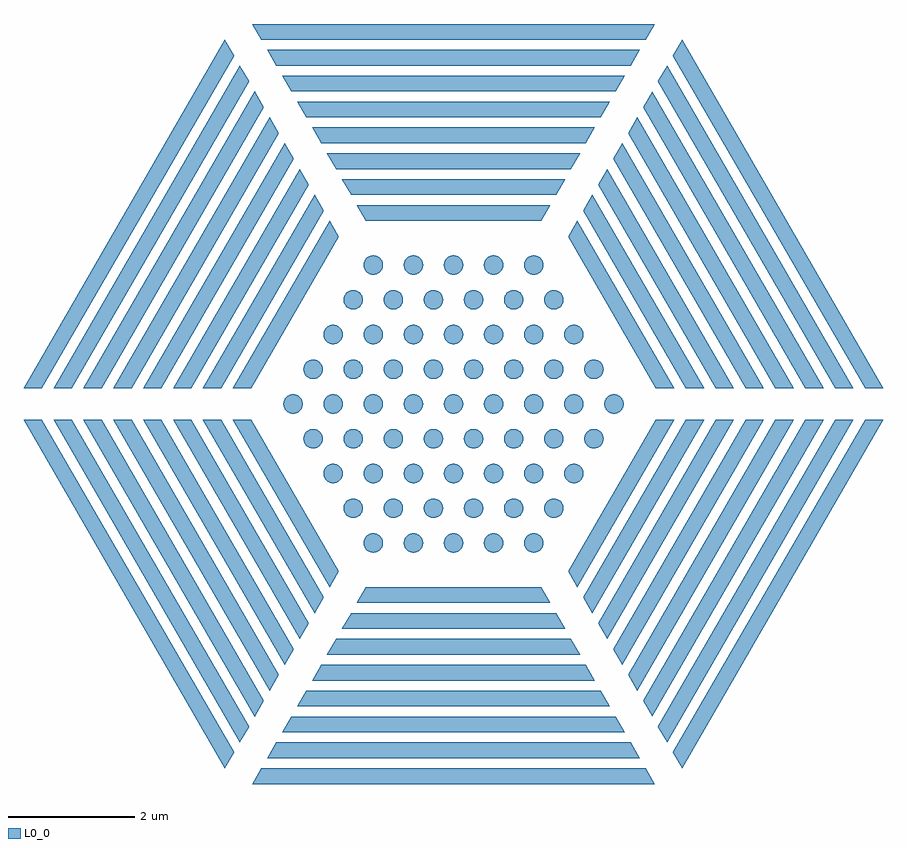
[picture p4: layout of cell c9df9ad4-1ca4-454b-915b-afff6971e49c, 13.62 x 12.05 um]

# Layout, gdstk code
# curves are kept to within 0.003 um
import gdstk
lib = gdstk.Library(unit=1e-6, precision=1e-09)
def P(c, l, *ps):  # polygons
    for p in ps: c.add(gdstk.Polygon(p, *l))
L0_0 = (0, 0)

c9df9ad4_1ca4_454b_915b_ = lib.new_cell('c9df9ad4-1ca4-454b-915b-afff6971e49c')
P(c9df9ad4_1ca4_454b_915b_, L0_0, [(7.441,200),(7.438,200.032),(7.428,200.063),(7.397,200.108),(7.352,200.139),(7.321,200.149),(7.289,200.153),(7.256,200.149),(7.225,200.139),(7.181,200.108),(7.16,200.083),(7.15,200.063),(7.136,200.011),(7.142,199.957),(7.16,199.917),(7.173,199.9),(7.197,199.878),(7.225,199.861),(7.256,199.851),(7.289,199.847),(7.321,199.851),(7.352,199.861),(7.397,199.892),(7.428,199.937),(7.438,199.968)],
  [(6.805,200),(6.802,200.032),(6.792,200.063),(6.761,200.108),(6.716,200.139),(6.685,200.149),(6.653,200.153),(6.62,200.149),(6.589,200.139),(6.545,200.108),(6.524,200.083),(6.514,200.063),(6.5,200.011),(6.506,199.957),(6.524,199.917),(6.537,199.9),(6.561,199.878),(6.589,199.861),(6.62,199.851),(6.653,199.847),(6.685,199.851),(6.716,199.861),(6.761,199.892),(6.792,199.937),(6.802,199.968)],
  [(7.123,200.551),(7.12,200.583),(7.11,200.614),(7.079,200.659),(7.034,200.69),(6.982,200.703),(6.949,200.702),(6.917,200.694),(6.879,200.673),(6.855,200.651),(6.837,200.624),(6.824,200.594),(6.818,200.562),(6.824,200.508),(6.842,200.468),(6.855,200.451),(6.888,200.422),(6.907,200.412),(6.928,200.404),(6.971,200.398),(7.014,200.404),(7.034,200.412),(7.079,200.443),(7.11,200.487),(7.12,200.518)],
  [(7.759,200.551),(7.756,200.583),(7.746,200.614),(7.715,200.659),(7.67,200.69),(7.618,200.703),(7.585,200.702),(7.553,200.694),(7.515,200.673),(7.491,200.651),(7.473,200.624),(7.46,200.594),(7.454,200.562),(7.46,200.508),(7.478,200.468),(7.491,200.451),(7.524,200.422),(7.543,200.412),(7.564,200.404),(7.607,200.398),(7.65,200.404),(7.67,200.412),(7.715,200.443),(7.746,200.487),(7.756,200.518)],
  [(8.077,200),(8.074,200.032),(8.064,200.063),(8.033,200.108),(7.988,200.139),(7.957,200.149),(7.925,200.153),(7.892,200.149),(7.861,200.139),(7.817,200.108),(7.796,200.083),(7.786,200.063),(7.772,200.011),(7.778,199.957),(7.796,199.917),(7.809,199.9),(7.833,199.878),(7.861,199.861),(7.892,199.851),(7.925,199.847),(7.957,199.851),(7.988,199.861),(8.033,199.892),(8.064,199.937),(8.074,199.968)],
  [(7.759,199.449),(7.756,199.482),(7.746,199.513),(7.715,199.557),(7.67,199.588),(7.65,199.596),(7.607,199.602),(7.553,199.592),(7.507,199.565),(7.478,199.532),(7.468,199.513),(7.454,199.46),(7.46,199.406),(7.491,199.349),(7.515,199.327),(7.543,199.31),(7.596,199.297),(7.628,199.298),(7.66,199.306),(7.68,199.315),(7.715,199.341),(7.746,199.386),(7.756,199.417)],
  [(7.123,199.449),(7.12,199.482),(7.11,199.513),(7.079,199.557),(7.034,199.588),(7.014,199.596),(6.971,199.602),(6.917,199.592),(6.871,199.565),(6.842,199.532),(6.832,199.513),(6.818,199.46),(6.824,199.406),(6.855,199.349),(6.879,199.327),(6.907,199.31),(6.96,199.297),(6.992,199.298),(7.024,199.306),(7.044,199.315),(7.079,199.341),(7.11,199.386),(7.12,199.417)],
  [(6.169,200),(6.166,200.032),(6.156,200.063),(6.125,200.108),(6.08,200.139),(6.049,200.149),(6.017,200.153),(5.984,200.149),(5.953,200.139),(5.909,200.108),(5.888,200.083),(5.878,200.063),(5.864,200.011),(5.87,199.957),(5.888,199.917),(5.901,199.9),(5.925,199.878),(5.953,199.861),(5.984,199.851),(6.017,199.847),(6.049,199.851),(6.08,199.861),(6.125,199.892),(6.156,199.937),(6.166,199.968)],
  [(6.805,201.102),(6.802,201.134),(6.792,201.165),(6.761,201.21),(6.726,201.236),(6.706,201.245),(6.674,201.253),(6.642,201.254),(6.599,201.245),(6.58,201.236),(6.537,201.202),(6.506,201.145),(6.5,201.091),(6.506,201.059),(6.519,201.028),(6.537,201.002),(6.561,200.979),(6.62,200.952),(6.664,200.949),(6.716,200.963),(6.761,200.994),(6.792,201.038),(6.802,201.069)],
  [(8.077,201.102),(8.074,201.134),(8.064,201.165),(8.033,201.21),(7.998,201.236),(7.978,201.245),(7.946,201.253),(7.914,201.254),(7.871,201.245),(7.852,201.236),(7.809,201.202),(7.778,201.145),(7.772,201.091),(7.778,201.059),(7.791,201.028),(7.809,201.002),(7.833,200.979),(7.892,200.952),(7.936,200.949),(7.988,200.963),(8.033,200.994),(8.064,201.038),(8.074,201.069)],
  [(8.713,200),(8.71,200.032),(8.7,200.063),(8.669,200.108),(8.624,200.139),(8.593,200.149),(8.561,200.153),(8.528,200.149),(8.497,200.139),(8.453,200.108),(8.432,200.083),(8.422,200.063),(8.408,200.011),(8.414,199.957),(8.432,199.917),(8.445,199.9),(8.469,199.878),(8.497,199.861),(8.528,199.851),(8.561,199.847),(8.593,199.851),(8.624,199.861),(8.669,199.892),(8.7,199.937),(8.71,199.968)],
  [(8.077,198.898),(8.074,198.931),(8.064,198.962),(8.033,199.006),(7.988,199.037),(7.936,199.051),(7.892,199.048),(7.833,199.021),(7.809,198.998),(7.791,198.972),(7.778,198.941),(7.772,198.909),(7.778,198.855),(7.809,198.798),(7.852,198.764),(7.871,198.755),(7.914,198.746),(7.946,198.747),(7.978,198.755),(7.998,198.764),(8.033,198.79),(8.064,198.835),(8.074,198.866)],
  [(6.805,198.898),(6.802,198.931),(6.792,198.962),(6.761,199.006),(6.716,199.037),(6.664,199.051),(6.62,199.048),(6.561,199.021),(6.537,198.998),(6.519,198.972),(6.506,198.941),(6.5,198.909),(6.506,198.855),(6.537,198.798),(6.58,198.764),(6.599,198.755),(6.642,198.746),(6.674,198.747),(6.706,198.755),(6.726,198.764),(6.761,198.79),(6.792,198.835),(6.802,198.866)],
  [(6.487,200.551),(6.484,200.583),(6.474,200.614),(6.443,200.659),(6.398,200.69),(6.346,200.703),(6.313,200.702),(6.281,200.694),(6.243,200.673),(6.219,200.651),(6.201,200.624),(6.188,200.594),(6.182,200.562),(6.188,200.508),(6.206,200.468),(6.219,200.451),(6.252,200.422),(6.271,200.412),(6.292,200.404),(6.335,200.398),(6.378,200.404),(6.398,200.412),(6.443,200.443),(6.474,200.487),(6.484,200.518)],
  [(7.441,201.102),(7.438,201.134),(7.428,201.165),(7.397,201.21),(7.362,201.236),(7.342,201.245),(7.31,201.253),(7.278,201.254),(7.235,201.245),(7.216,201.236),(7.173,201.202),(7.142,201.145),(7.136,201.091),(7.142,201.059),(7.155,201.028),(7.173,201.002),(7.197,200.979),(7.256,200.952),(7.3,200.949),(7.352,200.963),(7.397,200.994),(7.428,201.038),(7.438,201.069)],
  [(8.395,200.551),(8.392,200.583),(8.382,200.614),(8.351,200.659),(8.306,200.69),(8.254,200.703),(8.221,200.702),(8.189,200.694),(8.151,200.673),(8.127,200.651),(8.109,200.624),(8.096,200.594),(8.09,200.562),(8.096,200.508),(8.114,200.468),(8.127,200.451),(8.16,200.422),(8.179,200.412),(8.2,200.404),(8.243,200.398),(8.286,200.404),(8.306,200.412),(8.351,200.443),(8.382,200.487),(8.392,200.518)],
  [(8.395,199.449),(8.392,199.482),(8.382,199.513),(8.351,199.557),(8.306,199.588),(8.286,199.596),(8.243,199.602),(8.189,199.592),(8.143,199.565),(8.114,199.532),(8.104,199.513),(8.09,199.46),(8.096,199.406),(8.127,199.349),(8.151,199.327),(8.179,199.31),(8.232,199.297),(8.264,199.298),(8.296,199.306),(8.316,199.315),(8.351,199.341),(8.382,199.386),(8.392,199.417)],
  [(7.441,198.898),(7.438,198.931),(7.428,198.962),(7.397,199.006),(7.352,199.037),(7.3,199.051),(7.256,199.048),(7.197,199.021),(7.173,198.998),(7.155,198.972),(7.142,198.941),(7.136,198.909),(7.142,198.855),(7.173,198.798),(7.216,198.764),(7.235,198.755),(7.278,198.746),(7.31,198.747),(7.342,198.755),(7.362,198.764),(7.397,198.79),(7.428,198.835),(7.438,198.866)],
  [(6.487,199.449),(6.484,199.482),(6.474,199.513),(6.443,199.557),(6.398,199.588),(6.378,199.596),(6.335,199.602),(6.281,199.592),(6.235,199.565),(6.206,199.532),(6.196,199.513),(6.182,199.46),(6.188,199.406),(6.219,199.349),(6.243,199.327),(6.271,199.31),(6.324,199.297),(6.356,199.298),(6.388,199.306),(6.408,199.315),(6.443,199.341),(6.474,199.386),(6.484,199.417)],
  [(5.533,200),(5.53,200.032),(5.52,200.063),(5.489,200.108),(5.444,200.139),(5.413,200.149),(5.381,200.153),(5.348,200.149),(5.317,200.139),(5.273,200.108),(5.252,200.083),(5.242,200.063),(5.228,200.011),(5.234,199.957),(5.252,199.917),(5.265,199.9),(5.289,199.878),(5.317,199.861),(5.348,199.851),(5.381,199.847),(5.413,199.851),(5.444,199.861),(5.489,199.892),(5.52,199.937),(5.53,199.968)],
  [(6.487,201.652),(6.484,201.685),(6.474,201.716),(6.443,201.76),(6.398,201.791),(6.346,201.805),(6.302,201.802),(6.243,201.775),(6.219,201.752),(6.201,201.726),(6.188,201.695),(6.182,201.663),(6.188,201.609),(6.219,201.552),(6.262,201.518),(6.281,201.509),(6.324,201.5),(6.356,201.501),(6.388,201.509),(6.408,201.518),(6.443,201.544),(6.474,201.589),(6.484,201.62)],
  [(8.395,201.652),(8.392,201.685),(8.382,201.716),(8.351,201.76),(8.306,201.791),(8.254,201.805),(8.21,201.802),(8.151,201.775),(8.127,201.752),(8.109,201.726),(8.096,201.695),(8.09,201.663),(8.096,201.609),(8.127,201.552),(8.17,201.518),(8.189,201.509),(8.232,201.5),(8.264,201.501),(8.296,201.509),(8.316,201.518),(8.351,201.544),(8.382,201.589),(8.392,201.62)],
  [(9.349,200),(9.346,200.032),(9.336,200.063),(9.305,200.108),(9.26,200.139),(9.229,200.149),(9.197,200.153),(9.164,200.149),(9.133,200.139),(9.089,200.108),(9.068,200.083),(9.058,200.063),(9.044,200.011),(9.05,199.957),(9.068,199.917),(9.081,199.9),(9.105,199.878),(9.133,199.861),(9.164,199.851),(9.197,199.847),(9.229,199.851),(9.26,199.861),(9.305,199.892),(9.336,199.937),(9.346,199.968)],
  [(8.395,198.348),(8.392,198.38),(8.382,198.411),(8.351,198.456),(8.316,198.482),(8.286,198.494),(8.254,198.5),(8.221,198.499),(8.189,198.491),(8.151,198.47),(8.127,198.448),(8.109,198.421),(8.096,198.391),(8.09,198.359),(8.096,198.305),(8.109,198.274),(8.127,198.248),(8.151,198.225),(8.179,198.209),(8.232,198.195),(8.286,198.201),(8.343,198.232),(8.365,198.256),(8.382,198.284),(8.392,198.315)],
  [(6.487,198.348),(6.484,198.38),(6.474,198.411),(6.443,198.456),(6.408,198.482),(6.378,198.494),(6.346,198.5),(6.313,198.499),(6.281,198.491),(6.243,198.47),(6.219,198.448),(6.201,198.421),(6.188,198.391),(6.182,198.359),(6.188,198.305),(6.201,198.274),(6.219,198.248),(6.243,198.225),(6.271,198.209),(6.324,198.195),(6.378,198.201),(6.435,198.232),(6.457,198.256),(6.474,198.284),(6.484,198.315)],
  [(5.851,200.551),(5.848,200.583),(5.838,200.614),(5.807,200.659),(5.762,200.69),(5.71,200.703),(5.677,200.702),(5.645,200.694),(5.607,200.673),(5.583,200.651),(5.565,200.624),(5.552,200.594),(5.546,200.562),(5.552,200.508),(5.57,200.468),(5.583,200.451),(5.616,200.422),(5.635,200.412),(5.656,200.404),(5.699,200.398),(5.742,200.404),(5.762,200.412),(5.807,200.443),(5.838,200.487),(5.848,200.518)],
  [(7.123,201.652),(7.12,201.685),(7.11,201.716),(7.079,201.76),(7.034,201.791),(6.982,201.805),(6.938,201.802),(6.879,201.775),(6.855,201.752),(6.837,201.726),(6.824,201.695),(6.818,201.663),(6.824,201.609),(6.855,201.552),(6.898,201.518),(6.917,201.509),(6.96,201.5),(6.992,201.501),(7.024,201.509),(7.044,201.518),(7.079,201.544),(7.11,201.589),(7.12,201.62)],
  [(8.713,201.102),(8.71,201.134),(8.7,201.165),(8.669,201.21),(8.634,201.236),(8.614,201.245),(8.582,201.253),(8.55,201.254),(8.507,201.245),(8.488,201.236),(8.445,201.202),(8.414,201.145),(8.408,201.091),(8.414,201.059),(8.427,201.028),(8.445,201.002),(8.469,200.979),(8.528,200.952),(8.572,200.949),(8.624,200.963),(8.669,200.994),(8.7,201.038),(8.71,201.069)],
  [(9.031,199.449),(9.028,199.482),(9.018,199.513),(8.987,199.557),(8.942,199.588),(8.922,199.596),(8.879,199.602),(8.825,199.592),(8.779,199.565),(8.75,199.532),(8.74,199.513),(8.726,199.46),(8.732,199.406),(8.763,199.349),(8.787,199.327),(8.815,199.31),(8.868,199.297),(8.9,199.298),(8.932,199.306),(8.952,199.315),(8.987,199.341),(9.018,199.386),(9.028,199.417)],
  [(7.759,198.348),(7.756,198.38),(7.746,198.411),(7.715,198.456),(7.68,198.482),(7.65,198.494),(7.618,198.5),(7.585,198.499),(7.553,198.491),(7.515,198.47),(7.491,198.448),(7.473,198.421),(7.46,198.391),(7.454,198.359),(7.46,198.305),(7.473,198.274),(7.491,198.248),(7.515,198.225),(7.543,198.209),(7.596,198.195),(7.65,198.201),(7.707,198.232),(7.729,198.256),(7.746,198.284),(7.756,198.315)],
  [(6.169,198.898),(6.166,198.931),(6.156,198.962),(6.125,199.006),(6.08,199.037),(6.028,199.051),(5.984,199.048),(5.925,199.021),(5.901,198.998),(5.883,198.972),(5.87,198.941),(5.864,198.909),(5.87,198.855),(5.901,198.798),(5.944,198.764),(5.963,198.755),(6.006,198.746),(6.038,198.747),(6.07,198.755),(6.09,198.764),(6.125,198.79),(6.156,198.835),(6.166,198.866)],
  [(6.169,201.102),(6.166,201.134),(6.156,201.165),(6.125,201.21),(6.09,201.236),(6.07,201.245),(6.038,201.253),(6.006,201.254),(5.963,201.245),(5.944,201.236),(5.901,201.202),(5.87,201.145),(5.864,201.091),(5.87,201.059),(5.883,201.028),(5.901,201.002),(5.925,200.979),(5.984,200.952),(6.028,200.949),(6.08,200.963),(6.125,200.994),(6.156,201.038),(6.166,201.069)],
  [(7.759,201.652),(7.756,201.685),(7.746,201.716),(7.715,201.76),(7.67,201.791),(7.618,201.805),(7.574,201.802),(7.515,201.775),(7.491,201.752),(7.473,201.726),(7.46,201.695),(7.454,201.663),(7.46,201.609),(7.491,201.552),(7.534,201.518),(7.553,201.509),(7.596,201.5),(7.628,201.501),(7.66,201.509),(7.68,201.518),(7.715,201.544),(7.746,201.589),(7.756,201.62)],
  [(9.031,200.551),(9.028,200.583),(9.018,200.614),(8.987,200.659),(8.942,200.69),(8.89,200.703),(8.857,200.702),(8.825,200.694),(8.787,200.673),(8.763,200.651),(8.745,200.624),(8.732,200.594),(8.726,200.562),(8.732,200.508),(8.75,200.468),(8.763,200.451),(8.796,200.422),(8.815,200.412),(8.836,200.404),(8.879,200.398),(8.922,200.404),(8.942,200.412),(8.987,200.443),(9.018,200.487),(9.028,200.518)],
  [(8.713,198.898),(8.71,198.931),(8.7,198.962),(8.669,199.006),(8.624,199.037),(8.572,199.051),(8.528,199.048),(8.469,199.021),(8.445,198.998),(8.427,198.972),(8.414,198.941),(8.408,198.909),(8.414,198.855),(8.445,198.798),(8.488,198.764),(8.507,198.755),(8.55,198.746),(8.582,198.747),(8.614,198.755),(8.634,198.764),(8.669,198.79),(8.7,198.835),(8.71,198.866)],
  [(7.123,198.348),(7.12,198.38),(7.11,198.411),(7.079,198.456),(7.044,198.482),(7.014,198.494),(6.982,198.5),(6.949,198.499),(6.917,198.491),(6.879,198.47),(6.855,198.448),(6.837,198.421),(6.824,198.391),(6.818,198.359),(6.824,198.305),(6.837,198.274),(6.855,198.248),(6.879,198.225),(6.907,198.209),(6.96,198.195),(7.014,198.201),(7.071,198.232),(7.093,198.256),(7.11,198.284),(7.12,198.315)],
  [(5.851,199.449),(5.848,199.482),(5.838,199.513),(5.807,199.557),(5.762,199.588),(5.742,199.596),(5.699,199.602),(5.645,199.592),(5.599,199.565),(5.57,199.532),(5.56,199.513),(5.546,199.46),(5.552,199.406),(5.583,199.349),(5.607,199.327),(5.635,199.31),(5.688,199.297),(5.72,199.298),(5.752,199.306),(5.772,199.315),(5.807,199.341),(5.838,199.386),(5.848,199.417)],
  [(4.897,200),(4.894,200.032),(4.884,200.063),(4.853,200.108),(4.808,200.139),(4.777,200.149),(4.745,200.153),(4.712,200.149),(4.681,200.139),(4.637,200.108),(4.616,200.083),(4.606,200.063),(4.592,200.011),(4.598,199.957),(4.616,199.917),(4.629,199.9),(4.653,199.878),(4.681,199.861),(4.712,199.851),(4.745,199.847),(4.777,199.851),(4.808,199.861),(4.853,199.892),(4.884,199.937),(4.894,199.968)],
  [(6.169,202.203),(6.166,202.236),(6.156,202.267),(6.125,202.311),(6.08,202.342),(6.06,202.35),(6.017,202.356),(5.963,202.346),(5.917,202.319),(5.888,202.286),(5.878,202.267),(5.864,202.214),(5.87,202.16),(5.901,202.103),(5.925,202.081),(5.953,202.064),(6.006,202.051),(6.038,202.052),(6.07,202.06),(6.09,202.069),(6.125,202.095),(6.156,202.14),(6.166,202.171)],
  [(8.713,202.203),(8.71,202.236),(8.7,202.267),(8.669,202.311),(8.624,202.342),(8.604,202.35),(8.561,202.356),(8.507,202.346),(8.461,202.319),(8.432,202.286),(8.422,202.267),(8.408,202.214),(8.414,202.16),(8.445,202.103),(8.469,202.081),(8.497,202.064),(8.55,202.051),(8.582,202.052),(8.614,202.06),(8.634,202.069),(8.669,202.095),(8.7,202.14),(8.71,202.171)],
  [(9.985,200),(9.982,200.032),(9.972,200.063),(9.941,200.108),(9.896,200.139),(9.865,200.149),(9.833,200.153),(9.8,200.149),(9.769,200.139),(9.725,200.108),(9.704,200.083),(9.694,200.063),(9.68,200.011),(9.686,199.957),(9.704,199.917),(9.717,199.9),(9.741,199.878),(9.769,199.861),(9.8,199.851),(9.833,199.847),(9.865,199.851),(9.896,199.861),(9.941,199.892),(9.972,199.937),(9.982,199.968)],
  [(8.713,197.797),(8.71,197.829),(8.7,197.86),(8.669,197.905),(8.624,197.936),(8.572,197.949),(8.539,197.948),(8.507,197.94),(8.469,197.919),(8.445,197.897),(8.427,197.87),(8.414,197.84),(8.408,197.808),(8.414,197.754),(8.432,197.714),(8.445,197.697),(8.478,197.668),(8.497,197.658),(8.518,197.65),(8.561,197.644),(8.604,197.65),(8.624,197.658),(8.669,197.689),(8.7,197.733),(8.71,197.764)],
  [(6.169,197.797),(6.166,197.829),(6.156,197.86),(6.125,197.905),(6.08,197.936),(6.028,197.949),(5.995,197.948),(5.963,197.94),(5.925,197.919),(5.901,197.897),(5.883,197.87),(5.87,197.84),(5.864,197.808),(5.87,197.754),(5.888,197.714),(5.901,197.697),(5.934,197.668),(5.953,197.658),(5.974,197.65),(6.017,197.644),(6.06,197.65),(6.08,197.658),(6.125,197.689),(6.156,197.733),(6.166,197.764)],
  [(5.215,200.551),(5.212,200.583),(5.202,200.614),(5.171,200.659),(5.126,200.69),(5.074,200.703),(5.041,200.702),(5.009,200.694),(4.971,200.673),(4.947,200.651),(4.929,200.624),(4.916,200.594),(4.91,200.562),(4.916,200.508),(4.934,200.468),(4.947,200.451),(4.98,200.422),(4.999,200.412),(5.02,200.404),(5.063,200.398),(5.106,200.404),(5.126,200.412),(5.171,200.443),(5.202,200.487),(5.212,200.518)],
  [(6.805,202.203),(6.802,202.236),(6.792,202.267),(6.761,202.311),(6.716,202.342),(6.696,202.35),(6.653,202.356),(6.599,202.346),(6.553,202.319),(6.524,202.286),(6.514,202.267),(6.5,202.214),(6.506,202.16),(6.537,202.103),(6.561,202.081),(6.589,202.064),(6.642,202.051),(6.674,202.052),(6.706,202.06),(6.726,202.069),(6.761,202.095),(6.792,202.14),(6.802,202.171)],
  [(9.031,201.652),(9.028,201.685),(9.018,201.716),(8.987,201.76),(8.942,201.791),(8.89,201.805),(8.846,201.802),(8.787,201.775),(8.763,201.752),(8.745,201.726),(8.732,201.695),(8.726,201.663),(8.732,201.609),(8.763,201.552),(8.806,201.518),(8.825,201.509),(8.868,201.5),(8.9,201.501),(8.932,201.509),(8.952,201.518),(8.987,201.544),(9.018,201.589),(9.028,201.62)],
  [(9.667,199.449),(9.664,199.482),(9.654,199.513),(9.623,199.557),(9.578,199.588),(9.558,199.596),(9.515,199.602),(9.461,199.592),(9.415,199.565),(9.386,199.532),(9.376,199.513),(9.362,199.46),(9.368,199.406),(9.399,199.349),(9.423,199.327),(9.451,199.31),(9.504,199.297),(9.536,199.298),(9.568,199.306),(9.588,199.315),(9.623,199.341),(9.654,199.386),(9.664,199.417)],
  [(8.077,197.797),(8.074,197.829),(8.064,197.86),(8.033,197.905),(7.988,197.936),(7.936,197.949),(7.903,197.948),(7.871,197.94),(7.833,197.919),(7.809,197.897),(7.791,197.87),(7.778,197.84),(7.772,197.808),(7.778,197.754),(7.796,197.714),(7.809,197.697),(7.842,197.668),(7.861,197.658),(7.882,197.65),(7.925,197.644),(7.968,197.65),(7.988,197.658),(8.033,197.689),(8.064,197.733),(8.074,197.764)],
  [(5.851,198.348),(5.848,198.38),(5.838,198.411),(5.807,198.456),(5.772,198.482),(5.742,198.494),(5.71,198.5),(5.677,198.499),(5.645,198.491),(5.607,198.47),(5.583,198.448),(5.565,198.421),(5.552,198.391),(5.546,198.359),(5.552,198.305),(5.565,198.274),(5.583,198.248),(5.607,198.225),(5.635,198.209),(5.688,198.195),(5.742,198.201),(5.799,198.232),(5.821,198.256),(5.838,198.284),(5.848,198.315)],
  [(5.533,201.102),(5.53,201.134),(5.52,201.165),(5.489,201.21),(5.454,201.236),(5.434,201.245),(5.402,201.253),(5.37,201.254),(5.327,201.245),(5.308,201.236),(5.265,201.202),(5.234,201.145),(5.228,201.091),(5.234,201.059),(5.247,201.028),(5.265,201.002),(5.289,200.979),(5.348,200.952),(5.392,200.949),(5.444,200.963),(5.489,200.994),(5.52,201.038),(5.53,201.069)],
  [(7.441,202.203),(7.438,202.236),(7.428,202.267),(7.397,202.311),(7.352,202.342),(7.332,202.35),(7.289,202.356),(7.235,202.346),(7.189,202.319),(7.16,202.286),(7.15,202.267),(7.136,202.214),(7.142,202.16),(7.173,202.103),(7.197,202.081),(7.225,202.064),(7.278,202.051),(7.31,202.052),(7.342,202.06),(7.362,202.069),(7.397,202.095),(7.428,202.14),(7.438,202.171)],
  [(9.349,201.102),(9.346,201.134),(9.336,201.165),(9.305,201.21),(9.27,201.236),(9.25,201.245),(9.218,201.253),(9.186,201.254),(9.143,201.245),(9.124,201.236),(9.081,201.202),(9.05,201.145),(9.044,201.091),(9.05,201.059),(9.063,201.028),(9.081,201.002),(9.105,200.979),(9.164,200.952),(9.208,200.949),(9.26,200.963),(9.305,200.994),(9.336,201.038),(9.346,201.069)],
  [(9.349,198.898),(9.346,198.931),(9.336,198.962),(9.305,199.006),(9.26,199.037),(9.208,199.051),(9.164,199.048),(9.105,199.021),(9.081,198.998),(9.063,198.972),(9.05,198.941),(9.044,198.909),(9.05,198.855),(9.081,198.798),(9.124,198.764),(9.143,198.755),(9.186,198.746),(9.218,198.747),(9.25,198.755),(9.27,198.764),(9.305,198.79),(9.336,198.835),(9.346,198.866)],
  [(7.441,197.797),(7.438,197.829),(7.428,197.86),(7.397,197.905),(7.352,197.936),(7.3,197.949),(7.267,197.948),(7.235,197.94),(7.197,197.919),(7.173,197.897),(7.155,197.87),(7.142,197.84),(7.136,197.808),(7.142,197.754),(7.16,197.714),(7.173,197.697),(7.206,197.668),(7.225,197.658),(7.246,197.65),(7.289,197.644),(7.332,197.65),(7.352,197.658),(7.397,197.689),(7.428,197.733),(7.438,197.764)],
  [(5.533,198.898),(5.53,198.931),(5.52,198.962),(5.489,199.006),(5.444,199.037),(5.392,199.051),(5.348,199.048),(5.289,199.021),(5.265,198.998),(5.247,198.972),(5.234,198.941),(5.228,198.909),(5.234,198.855),(5.265,198.798),(5.308,198.764),(5.327,198.755),(5.37,198.746),(5.402,198.747),(5.434,198.755),(5.454,198.764),(5.489,198.79),(5.52,198.835),(5.53,198.866)],
  [(5.851,201.652),(5.848,201.685),(5.838,201.716),(5.807,201.76),(5.762,201.791),(5.71,201.805),(5.666,201.802),(5.607,201.775),(5.583,201.752),(5.565,201.726),(5.552,201.695),(5.546,201.663),(5.552,201.609),(5.583,201.552),(5.626,201.518),(5.645,201.509),(5.688,201.5),(5.72,201.501),(5.752,201.509),(5.772,201.518),(5.807,201.544),(5.838,201.589),(5.848,201.62)],
  [(8.077,202.203),(8.074,202.236),(8.064,202.267),(8.033,202.311),(7.988,202.342),(7.968,202.35),(7.925,202.356),(7.871,202.346),(7.825,202.319),(7.796,202.286),(7.786,202.267),(7.772,202.214),(7.778,202.16),(7.809,202.103),(7.833,202.081),(7.861,202.064),(7.914,202.051),(7.946,202.052),(7.978,202.06),(7.998,202.069),(8.033,202.095),(8.064,202.14),(8.074,202.171)],
  [(9.667,200.551),(9.664,200.583),(9.654,200.614),(9.623,200.659),(9.578,200.69),(9.526,200.703),(9.493,200.702),(9.461,200.694),(9.423,200.673),(9.399,200.651),(9.381,200.624),(9.368,200.594),(9.362,200.562),(9.368,200.508),(9.386,200.468),(9.399,200.451),(9.432,200.422),(9.451,200.412),(9.472,200.404),(9.515,200.398),(9.558,200.404),(9.578,200.412),(9.623,200.443),(9.654,200.487),(9.664,200.518)],
  [(9.031,198.348),(9.028,198.38),(9.018,198.411),(8.987,198.456),(8.952,198.482),(8.922,198.494),(8.89,198.5),(8.857,198.499),(8.825,198.491),(8.787,198.47),(8.763,198.448),(8.745,198.421),(8.732,198.391),(8.726,198.359),(8.732,198.305),(8.745,198.274),(8.763,198.248),(8.787,198.225),(8.815,198.209),(8.868,198.195),(8.922,198.201),(8.979,198.232),(9.001,198.256),(9.018,198.284),(9.028,198.315)],
  [(6.805,197.797),(6.802,197.829),(6.792,197.86),(6.761,197.905),(6.716,197.936),(6.664,197.949),(6.631,197.948),(6.599,197.94),(6.561,197.919),(6.537,197.897),(6.519,197.87),(6.506,197.84),(6.5,197.808),(6.506,197.754),(6.524,197.714),(6.537,197.697),(6.57,197.668),(6.589,197.658),(6.61,197.65),(6.653,197.644),(6.696,197.65),(6.716,197.658),(6.761,197.689),(6.792,197.733),(6.802,197.764)],
  [(5.215,199.449),(5.212,199.482),(5.202,199.513),(5.171,199.557),(5.126,199.588),(5.106,199.596),(5.063,199.602),(5.009,199.592),(4.963,199.565),(4.934,199.532),(4.924,199.513),(4.91,199.46),(4.916,199.406),(4.947,199.349),(4.971,199.327),(4.999,199.31),(5.052,199.297),(5.084,199.298),(5.116,199.306),(5.136,199.315),(5.171,199.341),(5.202,199.386),(5.212,199.417)],
  [(8.821,203.154),(5.756,203.154),(5.901,202.904),(8.677,202.904)],
  [(9.254,202.904),(9.11,202.654),(10.498,200.25),(10.787,200.25)],
  [(5.468,202.654),(5.323,202.904),(3.79,200.25),(4.079,200.25)],
  [(10.787,199.75),(10.498,199.75),(9.11,197.346),(9.254,197.096)],
  [(5.468,197.346),(4.079,199.75),(3.79,199.75),(5.323,197.096)],
  [(8.677,197.096),(5.901,197.096),(5.756,196.846),(8.821,196.846)],
  [(9.058,203.564),(5.52,203.564),(5.664,203.314),(8.914,203.314)],
  [(9.491,203.314),(9.346,203.064),(10.972,200.25),(11.26,200.25)],
  [(5.231,203.064),(5.087,203.314),(3.317,200.25),(3.606,200.25)],
  [(11.26,199.75),(10.972,199.75),(9.346,196.936),(9.491,196.686)],
  [(5.231,196.936),(3.606,199.75),(3.317,199.75),(5.087,196.686)],
  [(8.914,196.686),(5.664,196.686),(5.52,196.436),(9.058,196.436)],
  [(9.295,203.974),(5.283,203.974),(5.427,203.724),(9.15,203.724)],
  [(9.728,203.724),(9.583,203.474),(11.445,200.25),(11.734,200.25)],
  [(4.994,203.474),(4.85,203.724),(2.844,200.25),(3.132,200.25)],
  [(11.734,199.75),(11.445,199.75),(9.583,196.526),(9.728,196.276)],
  [(4.994,196.526),(3.132,199.75),(2.844,199.75),(4.85,196.276)],
  [(9.15,196.276),(5.427,196.276),(5.283,196.026),(9.295,196.026)],
  [(9.531,204.384),(5.046,204.384),(5.19,204.134),(9.387,204.134)],
  [(9.964,204.134),(9.82,203.884),(11.919,200.25),(12.207,200.25)],
  [(4.758,203.884),(4.613,204.134),(2.37,200.25),(2.659,200.25)],
  [(12.207,199.75),(11.919,199.75),(9.82,196.116),(9.964,195.866)],
  [(4.758,196.116),(2.659,199.75),(2.37,199.75),(4.613,195.866)],
  [(9.387,195.866),(5.19,195.866),(5.046,195.616),(9.531,195.616)],
  [(9.768,204.794),(4.809,204.794),(4.954,204.544),(9.624,204.544)],
  [(10.201,204.544),(10.057,204.294),(12.392,200.25),(12.681,200.25)],
  [(4.521,204.294),(4.377,204.544),(1.897,200.25),(2.185,200.25)],
  [(12.681,199.75),(12.392,199.75),(10.057,195.706),(10.201,195.456)],
  [(4.521,195.706),(2.185,199.75),(1.897,199.75),(4.377,195.456)],
  [(9.624,195.456),(4.954,195.456),(4.809,195.206),(9.768,195.206)],
  [(10.005,205.204),(4.573,205.204),(4.717,204.954),(9.861,204.954)],
  [(4.284,204.704),(4.14,204.954),(1.423,200.25),(1.712,200.25)],
  [(10.438,204.953),(10.294,204.704),(12.866,200.25),(13.154,200.25)],
  [(13.154,199.75),(12.866,199.75),(10.294,195.296),(10.438,195.047)],
  [(4.284,195.296),(1.712,199.75),(1.423,199.75),(4.14,195.046)],
  [(9.861,195.046),(4.717,195.046),(4.573,194.796),(10.005,194.796)],
  [(10.242,205.614),(4.336,205.614),(4.48,205.364),(10.097,205.364)],
  [(10.675,205.364),(10.53,205.114),(13.339,200.25),(13.628,200.25)],
  [(4.047,205.114),(3.903,205.364),(0.95,200.25),(1.238,200.25)],
  [(13.628,199.75),(13.339,199.75),(10.53,194.886),(10.675,194.636)],
  [(4.047,194.886),(1.238,199.75),(0.95,199.75),(3.903,194.636)],
  [(10.097,194.636),(4.48,194.636),(4.336,194.386),(10.242,194.386)],
  [(10.479,206.024),(4.099,206.024),(4.244,205.774),(10.334,205.774)],
  [(10.911,205.774),(10.767,205.524),(13.812,200.25),(14.101,200.25)],
  [(3.811,205.524),(3.666,205.774),(0.476,200.25),(0.765,200.25)],
  [(14.101,199.75),(13.812,199.75),(10.767,194.476),(10.911,194.226)],
  [(3.811,194.476),(0.765,199.75),(0.476,199.75),(3.666,194.226)],
  [(10.334,194.226),(4.244,194.226),(4.099,193.976),(10.479,193.976)])

lib.write_gds('c9df9ad4-1ca4-454b-915b-afff6971e49c.gds')
